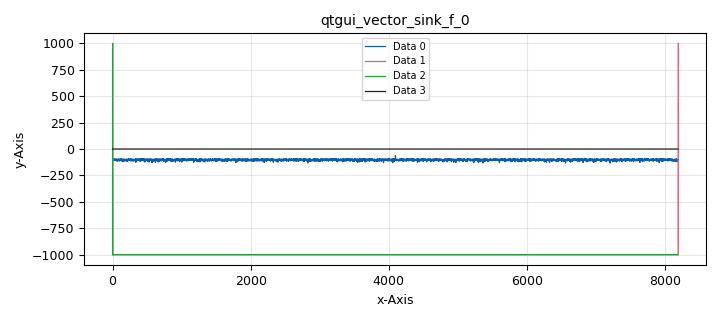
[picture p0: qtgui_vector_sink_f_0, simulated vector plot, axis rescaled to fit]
<?xml version='1.0' encoding='utf-8'?>
<?grc format='1' created='3.7.13'?>
<flow_graph>
<block>
<key>options</key>
<param><key>id</key><value>fixed_threshold_simulator</value></param>
<param><key>generate_options</key><value>qt_gui</value></param>
</block>
<block>
<key>variable</key>
<param><key>id</key><value>below_zero</value></param>
<param><key>value</key><value>-1000</value></param>
</block>
<block>
<key>variable</key>
<param><key>id</key><value>fft_size</value></param>
<param><key>value</key><value>8192</value></param>
</block>
<block>
<key>variable</key>
<param><key>id</key><value>full_band_size</value></param>
<param><key>value</key><value>8192</value></param>
</block>
<block>
<key>variable</key>
<param><key>id</key><value>in_box_spec_len</value></param>
<param><key>value</key><value>int(np.abs(up_line_adj-low_line_adj))</value></param>
</block>
<block>
<key>variable</key>
<param><key>id</key><value>low_bound_vec_bottom_half</value></param>
<param><key>value</key><value>(low_line_adj)*(below_zero,)</value></param>
</block>
<block>
<key>variable</key>
<param><key>id</key><value>low_bound_vec_top_half</value></param>
<param><key>value</key><value>(fft_size-low_line_adj-1)*(below_zero,)</value></param>
</block>
<block>
<key>variable_qtgui_range</key>
<param><key>id</key><value>low_line_adj</value></param>
<param><key>value</key><value>1</value></param>
<param><key>gui_hint</key><value>4,0,1,4</value></param>
<param><key>orient</key><value>Qt.Horizontal</value></param>
<param><key>start</key><value>1</value></param>
<param><key>step</key><value>1</value></param>
<param><key>stop</key><value>8191</value></param>
<param><key>rangeType</key><value>int</value></param>
</block>
<block>
<key>variable_qtgui_chooser</key>
<param><key>id</key><value>rx_antenna</value></param>
<param><key>value</key><value>antenna_default</value></param>
<param><key>gui_hint</key><value>0,1,1,1</value></param>
<param><key>label0</key><value>N/A</value></param>
<param><key>label</key><value>        Antenna</value></param>
<param><key>num_opts</key><value>1</value></param>
<param><key>option0</key><value>N/A</value></param>
<param><key>type</key><value>string</value></param>
</block>
<block>
<key>variable_qtgui_range</key>
<param><key>id</key><value>rx_freq</value></param>
<param><key>value</key><value>float(rx_freq_default)</value></param>
<param><key>gui_hint</key><value>1,0,1,4</value></param>
<param><key>label</key><value>Freq. (MHz):</value></param>
<param><key>orient</key><value>Qt.Horizontal</value></param>
<param><key>start</key><value>50</value></param>
<param><key>step</key><value>0.1</value></param>
<param><key>stop</key><value>6000</value></param>
</block>
<block>
<key>variable_qtgui_range</key>
<param><key>id</key><value>rx_gain</value></param>
<param><key>value</key><value>float(gain_default)</value></param>
<param><key>gui_hint</key><value>2,0,1,4</value></param>
<param><key>label</key><value>              Gain:</value></param>
<param><key>orient</key><value>Qt.Horizontal</value></param>
<param><key>start</key><value>0</value></param>
<param><key>step</key><value>0.002</value></param>
<param><key>stop</key><value>10</value></param>
</block>
<block>
<key>variable_qtgui_chooser</key>
<param><key>id</key><value>samp_rate</value></param>
<param><key>value</key><value>float(sample_rate_default)</value></param>
<param><key>gui_hint</key><value>0,0,1,1</value></param>
<param><key>label0</key><value>1 MS/s</value></param>
<param><key>label1</key><value>2 MS/s</value></param>
<param><key>label2</key><value>5 MS/s</value></param>
<param><key>label3</key><value>10 MS/s</value></param>
<param><key>label4</key><value>20 MS/s</value></param>
<param><key>label</key><value>Sample Rate</value></param>
<param><key>num_opts</key><value>5</value></param>
<param><key>option0</key><value>1e6</value></param>
<param><key>option1</key><value>2e6</value></param>
<param><key>option2</key><value>5e6</value></param>
<param><key>option3</key><value>10e6</value></param>
<param><key>option4</key><value>20e6</value></param>
<param><key>type</key><value>real</value></param>
</block>
<block>
<key>variable_qtgui_range</key>
<param><key>id</key><value>signal_source_freq</value></param>
<param><key>value</key><value>0</value></param>
<param><key>gui_hint</key><value>7,0,1,4</value></param>
<param><key>label</key><value>Signal Source Freq.:</value></param>
<param><key>orient</key><value>Qt.Horizontal</value></param>
<param><key>start</key><value>-1</value></param>
<param><key>step</key><value>0.01</value></param>
<param><key>stop</key><value>1</value></param>
</block>
<block>
<key>variable_qtgui_range</key>
<param><key>id</key><value>thresh_adj</value></param>
<param><key>value</key><value>float(threshold_default)</value></param>
<param><key>gui_hint</key><value>6,0,1,4</value></param>
<param><key>label</key><value>Thresh</value></param>
<param><key>orient</key><value>Qt.Horizontal</value></param>
<param><key>start</key><value>-120</value></param>
<param><key>step</key><value>1</value></param>
<param><key>stop</key><value>20</value></param>
</block>
<block>
<key>variable</key>
<param><key>id</key><value>up_bound_vec_bottom_half</value></param>
<param><key>value</key><value>(up_line_adj)*(below_zero,)</value></param>
</block>
<block>
<key>variable</key>
<param><key>id</key><value>up_bound_vec_top_half</value></param>
<param><key>value</key><value>(fft_size-up_line_adj-1)*(below_zero,)</value></param>
</block>
<block>
<key>variable_qtgui_range</key>
<param><key>id</key><value>up_line_adj</value></param>
<param><key>value</key><value>8191</value></param>
<param><key>gui_hint</key><value>5,0,1,4</value></param>
<param><key>orient</key><value>Qt.Horizontal</value></param>
<param><key>start</key><value>1</value></param>
<param><key>step</key><value>1</value></param>
<param><key>stop</key><value>8191</value></param>
<param><key>rangeType</key><value>int</value></param>
</block>
<block>
<key>variable</key>
<param><key>id</key><value>vec_height</value></param>
<param><key>value</key><value>1000</value></param>
</block>
<block>
<key>ainfosec_msg_str_to_PUB</key>
<param><key>id</key><value>ainfosec_msg_str_to_PUB_0</value></param>
<param><key>address</key><value>tcp://127.0.0.1:5060</value></param>
</block>
<block>
<key>analog_noise_source_x</key>
<param><key>id</key><value>analog_noise_source_x_0</value></param>
<param><key>amp</key><value>0.001</value></param>
<param><key>noise_type</key><value>analog.GR_GAUSSIAN</value></param>
<param><key>type</key><value>complex</value></param>
<param><key>seed</key><value>0</value></param>
</block>
<block>
<key>analog_sig_source_x</key>
<param><key>id</key><value>analog_sig_source_x_0</value></param>
<param><key>amp</key><value>10**rx_gain/100000</value></param>
<param><key>freq</key><value>(samp_rate/2)*signal_source_freq</value></param>
<param><key>offset</key><value>0</value></param>
<param><key>type</key><value>complex</value></param>
<param><key>samp_rate</key><value>samp_rate</value></param>
<param><key>waveform</key><value>analog.GR_COS_WAVE</value></param>
</block>
<block>
<key>parameter</key>
<param><key>id</key><value>antenna_default</value></param>
<param><key>label</key><value>antenna_default</value></param>
<param><key>type</key><value>string</value></param>
<param><key>value</key><value>"N/A"</value></param>
</block>
<block>
<key>blocks_add_const_vxx</key>
<param><key>id</key><value>blocks_add_const_vxx_0</value></param>
<param><key>const</key><value>((below_zero*10),)*(low_line_adj)+(0,)*in_box_spec_len+((below_zero*10),)*(fft_size-up_line_adj)</value></param>
<param><key>type</key><value>float</value></param>
<param><key>vlen</key><value>fft_size</value></param>
</block>
<block>
<key>blocks_add_xx</key>
<param><key>id</key><value>blocks_add_xx_0</value></param>
<param><key>type</key><value>complex</value></param>
</block>
<block>
<key>blocks_complex_to_mag</key>
<param><key>id</key><value>blocks_complex_to_mag_0</value></param>
<param><key>vlen</key><value>fft_size</value></param>
</block>
<block>
<key>blocks_max_xx</key>
<param><key>id</key><value>blocks_max_xx_0</value></param>
<param><key>type</key><value>float</value></param>
<param><key>vlen</key><value>fft_size</value></param>
<param><key>num_inputs</key><value>2</value></param>
<param><key>vlen_out</key><value>fft_size</value></param>
</block>
<block>
<key>blocks_nlog10_ff</key>
<param><key>id</key><value>blocks_nlog10_ff_0</value></param>
<param><key>vlen</key><value>fft_size</value></param>
<param><key>k</key><value>-72</value></param>
<param><key>n</key><value>20</value></param>
</block>
<block>
<key>blocks_stream_to_vector_decimator</key>
<param><key>id</key><value>blocks_stream_to_vector_decimator_0</value></param>
<param><key>type</key><value>complex</value></param>
<param><key>sample_rate</key><value>samp_rate</value></param>
<param><key>vlen</key><value>fft_size</value></param>
<param><key>vec_rate</key><value>30</value></param>
</block>
<block>
<key>blocks_throttle</key>
<param><key>id</key><value>blocks_throttle_0</value></param>
<param><key>samples_per_second</key><value>samp_rate</value></param>
<param><key>type</key><value>complex</value></param>
</block>
<block>
<key>blocks_vector_source_x</key>
<param><key>id</key><value>blocks_vector_source_x_0</value></param>
<param><key>type</key><value>float</value></param>
<param><key>repeat</key><value>True</value></param>
<param><key>vlen</key><value>fft_size</value></param>
<param><key>vector</key><value>(thresh_adj,)*full_band_size</value></param>
</block>
<block>
<key>blocks_vector_source_x</key>
<param><key>id</key><value>blocks_vector_source_x_0_0</value></param>
<param><key>type</key><value>float</value></param>
<param><key>repeat</key><value>True</value></param>
<param><key>vlen</key><value>fft_size</value></param>
<param><key>vector</key><value>up_bound_vec_bottom_half+(vec_height,)+up_bound_vec_top_half</value></param>
</block>
<block>
<key>blocks_vector_source_x</key>
<param><key>id</key><value>blocks_vector_source_x_0_1</value></param>
<param><key>type</key><value>float</value></param>
<param><key>repeat</key><value>True</value></param>
<param><key>vlen</key><value>fft_size</value></param>
<param><key>vector</key><value>low_bound_vec_bottom_half+(vec_height,)+low_bound_vec_top_half</value></param>
</block>
<block>
<key>parameter</key>
<param><key>id</key><value>channel_default</value></param>
<param><key>label</key><value>channel_default</value></param>
<param><key>type</key><value>string</value></param>
<param><key>value</key><value>"N/A"</value></param>
</block>
<block>
<key>epy_block</key>
<param><key>id</key><value>epy_block_0</value></param>
<param><key>_source_code</key><value>"""
Embedded Python Blocks:

Each time this file is saved, GRC will instantiate the first class it finds
to get ports and parameters of your block. The arguments to __init__  will
be the parameters. All of them are required to have default values!
"""

import numpy as np
from gnuradio import gr
import time
import pmt
import zmq

class blk(gr.sync_block):  # other base classes are basic_block, decim_block, interp_block
    """Embedded Python Block example - a simple multiply const"""

    def __init__(self, vec_len=8192, sample_rate=1000000, rx_freq_mhz=2412):  # only default arguments here
        """arguments to this function show up as parameters in GRC"""
        gr.sync_block.__init__(
            self,
            name='Embedded Python Block',   # will show up in GRC
            in_sig=[(np.float32,vec_len),(np.float32,vec_len)],
            out_sig=None
        )
        # if an attribute with the same name as a parameter is found,
        # a callback is registered (properties work, too).
        self.message_port_register_out(pmt.intern('detected_signals'))         
        self.sample_rate = sample_rate
        self.fft_size = vec_len
        self.rx_freq_mhz = rx_freq_mhz

    def work(self, input_items,output_items):
        for vecindx in range(len(input_items[0])):
            if len(np.nonzero(input_items[0][vecindx] &gt; input_items[1][vecindx][0])[0])&gt;0:
                max_index = (input_items[0][vecindx]).argmax()
                max_freq = str(round((max_index/float(int(self.fft_size)))*float(self.sample_rate)/1e6 - (float(self.sample_rate)/2e6) + float(self.rx_freq_mhz),4)*1000000)
                max_power = str(int(input_items[0][vecindx][np.nonzero(input_items[0][vecindx] &gt; input_items[1][0])].max()))
                self.message_port_pub(pmt.intern('detected_signals'), pmt.intern('TSI:/Signal Found/' + max_freq + '/' + max_power + '/' + str(time.time())))

        return len(input_items[0])
</value></param>
<param><key>rx_freq_mhz</key><value>rx_freq</value></param>
<param><key>sample_rate</key><value>samp_rate</value></param>
<param><key>vec_len</key><value>fft_size</value></param>
</block>
<block>
<key>fft_vxx</key>
<param><key>id</key><value>fft_vxx_0</value></param>
<param><key>fft_size</key><value>fft_size</value></param>
<param><key>forward</key><value>True</value></param>
<param><key>type</key><value>complex</value></param>
<param><key>shift</key><value>True</value></param>
<param><key>window</key><value>window.blackmanharris(fft_size)</value></param>
</block>
<block>
<key>parameter</key>
<param><key>id</key><value>gain_default</value></param>
<param><key>label</key><value>gain_default</value></param>
<param><key>type</key><value>string</value></param>
<param><key>value</key><value>2</value></param>
</block>
<block>
<key>import</key>
<param><key>id</key><value>import_0</value></param>
<param><key>import</key><value>import numpy as np</value></param>
</block>
<block>
<key>import</key>
<param><key>id</key><value>import_0_1</value></param>
<param><key>import</key><value>import random</value></param>
</block>
<block>
<key>import</key>
<param><key>id</key><value>import_0_2</value></param>
<param><key>import</key><value>import time</value></param>
</block>
<block>
<key>parameter</key>
<param><key>id</key><value>ip_address</value></param>
<param><key>label</key><value>ip_address</value></param>
<param><key>type</key><value>string</value></param>
<param><key>value</key><value></value></param>
</block>
<block>
<key>logpwrfft_x</key>
<param><key>id</key><value>logpwrfft_x_0</value></param>
<param><key>avg_alpha</key><value>1.0</value></param>
<param><key>average</key><value>False</value></param>
<param><key>comment</key><value>No FFT Shift</value></param>
<param><key>_enabled</key><value>0</value></param>
<param><key>fft_size</key><value>fft_size</value></param>
<param><key>frame_rate</key><value>30</value></param>
<param><key>type</key><value>complex</value></param>
<param><key>ref_scale</key><value>2</value></param>
<param><key>sample_rate</key><value>samp_rate</value></param>
</block>
<block>
<key>qtgui_vector_sink_f</key>
<param><key>id</key><value>qtgui_vector_sink_f_0</value></param>
<param><key>gui_hint</key><value>8,0,8,4</value></param>
<param><key>nconnections</key><value>4</value></param>
<param><key>showports</key><value>True</value></param>
<param><key>vlen</key><value>fft_size</value></param>
<param><key>x_start</key><value>0</value></param>
<param><key>x_step</key><value>1.0</value></param>
</block>
<block>
<key>parameter</key>
<param><key>id</key><value>rx_freq_default</value></param>
<param><key>label</key><value>rx_freq_default</value></param>
<param><key>type</key><value>string</value></param>
<param><key>value</key><value>2412</value></param>
</block>
<block>
<key>parameter</key>
<param><key>id</key><value>sample_rate_default</value></param>
<param><key>label</key><value>sample_rate_default</value></param>
<param><key>type</key><value>string</value></param>
<param><key>value</key><value>20e6</value></param>
</block>
<block>
<key>parameter</key>
<param><key>id</key><value>serial</value></param>
<param><key>label</key><value>serial</value></param>
<param><key>type</key><value>string</value></param>
<param><key>value</key><value>False</value></param>
</block>
<block>
<key>parameter</key>
<param><key>id</key><value>threshold_default</value></param>
<param><key>label</key><value>threshold_default</value></param>
<param><key>type</key><value>string</value></param>
<param><key>value</key><value>0</value></param>
</block>
<connection><source_block_id>analog_noise_source_x_0</source_block_id><sink_block_id>blocks_add_xx_0</sink_block_id><source_key>0</source_key><sink_key>0</sink_key></connection>
<connection><source_block_id>analog_sig_source_x_0</source_block_id><sink_block_id>blocks_add_xx_0</sink_block_id><source_key>0</source_key><sink_key>1</sink_key></connection>
<connection><source_block_id>blocks_add_const_vxx_0</source_block_id><sink_block_id>blocks_max_xx_0</sink_block_id><source_key>0</source_key><sink_key>1</sink_key></connection>
<connection><source_block_id>blocks_add_xx_0</source_block_id><sink_block_id>blocks_throttle_0</sink_block_id><source_key>0</source_key><sink_key>0</sink_key></connection>
<connection><source_block_id>blocks_complex_to_mag_0</source_block_id><sink_block_id>blocks_nlog10_ff_0</sink_block_id><source_key>0</source_key><sink_key>0</sink_key></connection>
<connection><source_block_id>blocks_max_xx_0</source_block_id><sink_block_id>epy_block_0</sink_block_id><source_key>0</source_key><sink_key>0</sink_key></connection>
<connection><source_block_id>blocks_nlog10_ff_0</source_block_id><sink_block_id>blocks_add_const_vxx_0</sink_block_id><source_key>0</source_key><sink_key>0</sink_key></connection>
<connection><source_block_id>blocks_nlog10_ff_0</source_block_id><sink_block_id>qtgui_vector_sink_f_0</sink_block_id><source_key>0</source_key><sink_key>0</sink_key></connection>
<connection><source_block_id>blocks_stream_to_vector_decimator_0</source_block_id><sink_block_id>fft_vxx_0</sink_block_id><source_key>0</source_key><sink_key>0</sink_key></connection>
<connection><source_block_id>blocks_throttle_0</source_block_id><sink_block_id>blocks_stream_to_vector_decimator_0</sink_block_id><source_key>0</source_key><sink_key>0</sink_key></connection>
<connection><source_block_id>blocks_vector_source_x_0</source_block_id><sink_block_id>blocks_max_xx_0</sink_block_id><source_key>0</source_key><sink_key>0</sink_key></connection>
<connection><source_block_id>blocks_vector_source_x_0</source_block_id><sink_block_id>epy_block_0</sink_block_id><source_key>0</source_key><sink_key>1</sink_key></connection>
<connection><source_block_id>blocks_vector_source_x_0</source_block_id><sink_block_id>qtgui_vector_sink_f_0</sink_block_id><source_key>0</source_key><sink_key>3</sink_key></connection>
<connection><source_block_id>blocks_vector_source_x_0_0</source_block_id><sink_block_id>qtgui_vector_sink_f_0</sink_block_id><source_key>0</source_key><sink_key>1</sink_key></connection>
<connection><source_block_id>blocks_vector_source_x_0_1</source_block_id><sink_block_id>qtgui_vector_sink_f_0</sink_block_id><source_key>0</source_key><sink_key>2</sink_key></connection>
<connection><source_block_id>epy_block_0</source_block_id><sink_block_id>ainfosec_msg_str_to_PUB_0</sink_block_id><source_key>detected_signals</source_key><sink_key>Message</sink_key></connection>
<connection><source_block_id>fft_vxx_0</source_block_id><sink_block_id>blocks_complex_to_mag_0</sink_block_id><source_key>0</source_key><sink_key>0</sink_key></connection>
<connection><source_block_id>logpwrfft_x_0</source_block_id><sink_block_id>blocks_add_const_vxx_0</sink_block_id><source_key>0</source_key><sink_key>0</sink_key></connection>
<connection><source_block_id>logpwrfft_x_0</source_block_id><sink_block_id>qtgui_vector_sink_f_0</sink_block_id><source_key>0</source_key><sink_key>0</sink_key></connection>
</flow_graph>
